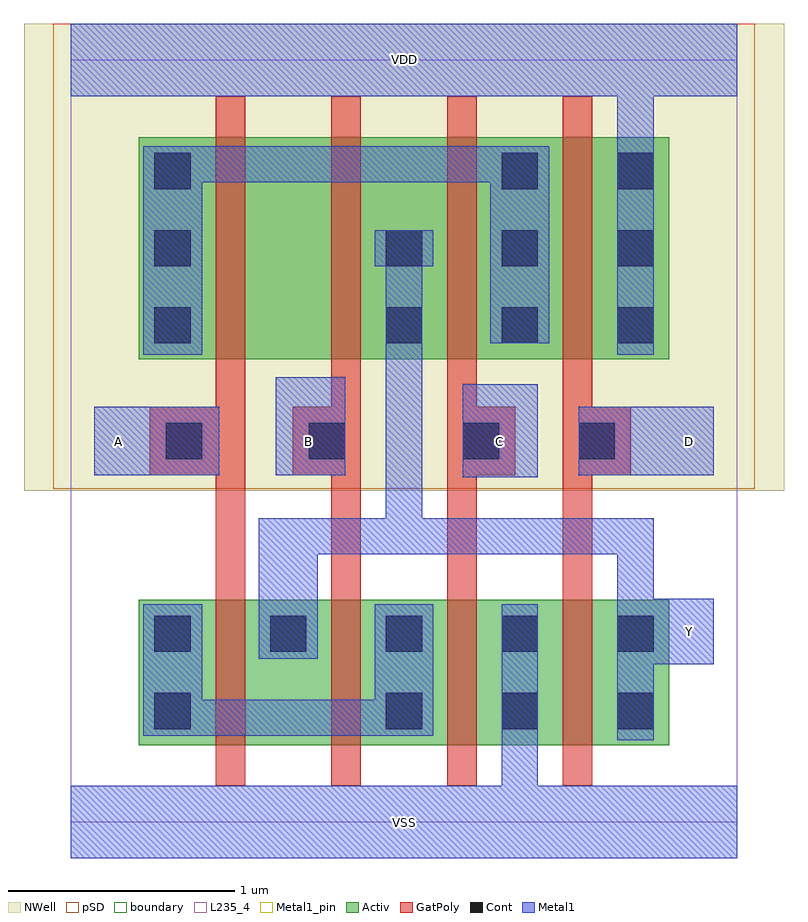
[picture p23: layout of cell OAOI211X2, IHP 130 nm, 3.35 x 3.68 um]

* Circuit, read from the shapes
.subckt OAOI211X2 A B C D VDD VSS Y
XM1 Y A n1 VSUBS sg13_lv_nmos w=0.64u l=0.13u
XM2 n1 B Y VSUBS sg13_lv_nmos w=0.64u l=0.13u
XM3 VSS C n1 VSUBS sg13_lv_nmos w=0.64u l=0.13u
XM4 Y D VSS VSUBS sg13_lv_nmos w=0.64u l=0.13u
XM5 n2 A n3 n4 sg13_lv_pmos w=0.98u l=0.13u
XM6 Y B n2 n4 sg13_lv_pmos w=0.98u l=0.13u
XM7 n3 C Y n4 sg13_lv_pmos w=0.98u l=0.13u
XM8 VDD D n3 n4 sg13_lv_pmos w=0.98u l=0.13u
.ends

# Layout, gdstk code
import gdstk
lib = gdstk.Library(unit=1e-6, precision=1e-09)
def R(c, l, rs):  # rectangles x0, y0, x1, y1
    for r in rs: c.add(gdstk.rectangle(r[:2], r[2:], *l))
def A(c, l, x, y, w, h, nx, ny, dx, dy):  # array of equal rectangles
    R(c, l, [(x+i*dx, y+j*dy, x+i*dx+w, y+j*dy+h) for i in range(nx) for j in range(ny)])
def P(c, l, *ps):  # polygons
    for p in ps: c.add(gdstk.Polygon(p, *l))
Activ = (1, 0)
GatPoly = (5, 0)
Cont = (6, 0)
Metal1 = (8, 0)
Metal1_pin = (8, 2)
pSD = (14, 0)
NWell = (31, 0)
boundary = (189, 4)
L235_4 = (235, 4)

oaoi211x2 = lib.new_cell('OAOI211X2')
R(oaoi211x2, Activ, [(0.3,0.34,2.64,0.98), (0.3,2.04,2.64,3.02)])
P(oaoi211x2, GatPoly, [(1.66,0.16),(1.66,3.2),(1.79,3.2),(1.79,1.83),(1.96,1.83),(1.96,1.53),(1.79,1.53),(1.79,0.16)],
  [(1.15,0.16),(1.15,1.53),(0.98,1.53),(0.98,1.83),(1.15,1.83),(1.15,3.2),(1.28,3.2),(1.28,0.16)],
  [(0.64,0.16),(0.64,1.53),(0.35,1.53),(0.35,1.83),(0.64,1.83),(0.64,3.2),(0.77,3.2),(0.77,0.16)],
  [(2.17,0.16),(2.17,3.2),(2.3,3.2),(2.3,1.83),(2.47,1.83),(2.47,1.53),(2.3,1.53),(2.3,0.16)])
A(oaoi211x2, Cont, 1.39, 0.41, 0.16, 0.16, 3, 2, 0.51, 1.7)
A(oaoi211x2, Cont, 0.37, 0.75, 0.16, 0.16, 5, 1, 0.51, 0)
A(oaoi211x2, Cont, 0.37, 2.11, 0.16, 0.16, 1, 3, 0, 0.34)
A(oaoi211x2, Cont, 1.39, 2.45, 0.16, 0.16, 3, 1, 0.51, 0)
R(oaoi211x2, Cont, [(0.37,0.41,0.53,0.57), (0.42,1.6,0.58,1.76), (1.05,1.6,1.21,1.76), (1.73,1.6,1.89,1.76), (2.24,1.6,2.4,1.76), (1.9,2.79,2.06,2.95), (2.41,2.79,2.57,2.95)])
R(oaoi211x2, Metal1, [(1.73,1.52,2.06,1.93), (0.105,1.53,0.655,1.83), (0.905,1.53,1.21,1.96), (2.24,1.53,2.835,1.83)])
P(oaoi211x2, Metal1, [(2.41,0.36),(2.41,1.18),(1.09,1.18),(1.09,0.72),(0.83,0.72),(0.83,1.34),(1.39,1.34),(1.39,2.45),(1.34,2.45),(1.34,2.61),(1.6,2.61),(1.6,2.45),(1.55,2.45),(1.55,1.34),(2.57,1.34),(2.57,0.985),(2.835,0.985),(2.835,0.695),(2.57,0.695),(2.57,0.36)],
  [(2.41,2.06),(2.41,3.2),(0,3.2),(0,3.52),(2.94,3.52),(2.94,3.2),(2.57,3.2),(2.57,2.06)],
  [(0,-0.16),(0,0.16),(1.9,0.16),(1.9,0.96),(2.06,0.96),(2.06,0.16),(2.94,0.16),(2.94,-0.16)],
  [(0.32,2.06),(0.32,2.98),(2.11,2.98),(2.11,2.11),(1.85,2.11),(1.85,2.82),(0.58,2.82),(0.58,2.06)],
  [(0.32,0.38),(0.32,0.96),(0.58,0.96),(0.58,0.54),(1.34,0.54),(1.34,0.96),(1.6,0.96),(1.6,0.38)])
R(oaoi211x2, Metal1_pin, [(0,-0.16,2.94,0.16), (2.57,0.695,2.835,0.985), (1.73,1.52,2.06,1.93), (0.105,1.53,0.655,1.83), (0.905,1.53,1.21,1.96), (2.24,1.53,2.835,1.83), (0,3.2,2.94,3.52)])
P(oaoi211x2, Metal1_pin, [(2.41,0.36),(2.41,1.18),(1.09,1.18),(1.09,0.72),(0.83,0.72),(0.83,1.34),(1.39,1.34),(1.39,2.45),(1.34,2.45),(1.34,2.61),(1.6,2.61),(1.6,2.45),(1.55,2.45),(1.55,1.34),(2.57,1.34),(2.57,0.985),(2.835,0.985),(2.835,0.695),(2.57,0.695),(2.57,0.36)],
  [(0,-0.16),(0,0.16),(1.9,0.16),(1.9,0.96),(2.06,0.96),(2.06,0.16),(2.94,0.16),(2.94,-0.16)],
  [(2.41,2.06),(2.41,3.2),(0,3.2),(0,3.52),(2.94,3.52),(2.94,3.2),(2.57,3.2),(2.57,2.06)])
R(oaoi211x2, pSD, [(-0.075,1.47,3.015,3.52)])
R(oaoi211x2, NWell, [(-0.205,1.46,3.145,3.52)])
R(oaoi211x2, boundary, [(0,0,2.94,3.36)])
R(oaoi211x2, L235_4, [(0,0,2.94,3.36)])
oaoi211x2.add(gdstk.Label('Y', (2.73,0.84), layer=8, texttype=25))
oaoi211x2.add(gdstk.Label('VDD', (1.47,3.36), layer=8, texttype=25))
oaoi211x2.add(gdstk.Label('B', (1.05,1.68), layer=8, texttype=25))
oaoi211x2.add(gdstk.Label('D', (2.73,1.68), layer=8, texttype=25))
oaoi211x2.add(gdstk.Label('A', (0.21,1.68), layer=8, texttype=25))
oaoi211x2.add(gdstk.Label('C', (1.89,1.68), layer=8, texttype=25))
oaoi211x2.add(gdstk.Label('VSS', (1.47,0), layer=8, texttype=25))

lib.write_gds('OAOI211X2.gds')
